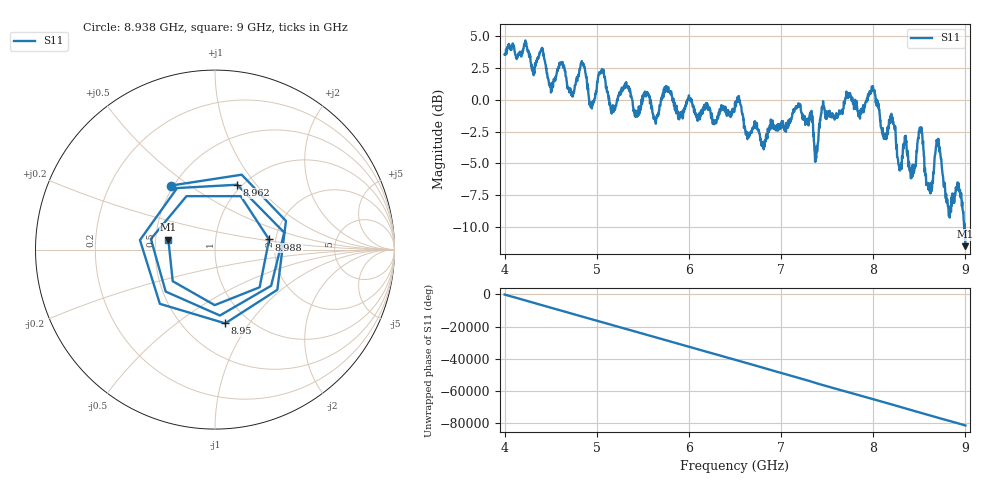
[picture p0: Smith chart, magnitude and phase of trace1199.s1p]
! Created with skrf 1.8.0 (http://scikit-rf.org).
# Hz S RI R 50.0
!freq ReS11 ImS11
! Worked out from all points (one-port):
!   1601 points, 4 GHz to 9 GHz, reference 50 ohm
!   lowest |S11| = -11.5 dB at 9 GHz (marker M1), VSWR 1.72, Z = 29.2 + j3.51 ohm
!   |S11| at or under -10 dB: 8.986348 GHz to 8.989554 GHz (3.205 MHz wide, 0.0357 % of centre); 8.992694 GHz to end of sweep
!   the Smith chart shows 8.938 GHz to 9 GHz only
!   S11 on the Smith chart (normalised r, x): 8.938 GHz: 0.48, +0.42; 8.95 GHz: 0.78, -0.78; 8.962 GHz: 0.95, +0.80; 8.988 GHz: 1.84, +0.23; 9 GHz: 0.58, +0.07
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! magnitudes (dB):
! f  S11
! 4 GHz  3.6
! 4.625 GHz  2.9
! 4.728 GHz  0.6
! 4.85 GHz  2.9
! 4.941 GHz  -0.5
! 5.05 GHz  2.3
! 5.162 GHz  -1.1
! 5.25 GHz  0.5
! 5.875 GHz  -0.9
! 6.5 GHz  -0.2
! 6.806 GHz  -3.6
! 7.125 GHz  -1.1
! 7.381 GHz  -4.6
! 7.45 GHz  -0.7
! 7.75 GHz  0.5
! 7.997 GHz  1.1
! 8.284 GHz  -5.5
! 8.375 GHz  -4.5
! 8.431 GHz  -5.5
! 8.509 GHz  -2.2
! 8.6 GHz  -7.1
! 8.703 GHz  -3.3
! 8.819 GHz  -9.1
! 8.938 GHz  -7.3
! 8.95 GHz  -7.6
! 8.962 GHz  -8.4
! 8.988 GHz  -10.3
! 9 GHz  -11.5
